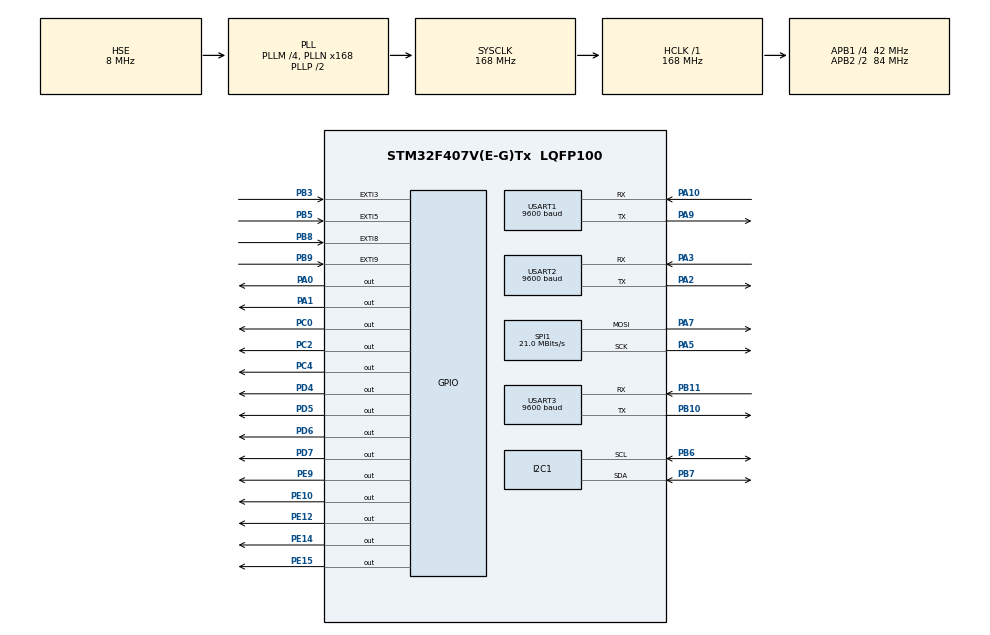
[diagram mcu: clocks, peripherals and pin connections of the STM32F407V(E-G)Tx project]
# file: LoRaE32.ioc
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Dma.Request0=USART2_RX
Dma.Request1=USART3_RX
Dma.Request2=SPI1_TX
Dma.SPI1_TX.2.Direction=DMA_MEMORY_TO_PERIPH
Dma.SPI1_TX.2.FIFOMode=DMA_FIFOMODE_DISABLE
Dma.SPI1_TX.2.Instance=DMA2_Stream3
Dma.SPI1_TX.2.MemDataAlignment=DMA_MDATAALIGN_BYTE
Dma.SPI1_TX.2.MemInc=DMA_MINC_ENABLE
Dma.SPI1_TX.2.Mode=DMA_NORMAL
Dma.SPI1_TX.2.PeriphDataAlignment=DMA_PDATAALIGN_BYTE
Dma.SPI1_TX.2.PeriphInc=DMA_PINC_DISABLE
Dma.SPI1_TX.2.Priority=DMA_PRIORITY_LOW
Dma.USART2_RX.0.Direction=DMA_PERIPH_TO_MEMORY
Dma.USART2_RX.0.FIFOMode=DMA_FIFOMODE_DISABLE
Dma.USART2_RX.0.Instance=DMA1_Stream5
Dma.USART2_RX.0.MemDataAlignment=DMA_MDATAALIGN_BYTE
Dma.USART2_RX.0.MemInc=DMA_MINC_ENABLE
Dma.USART2_RX.0.Mode=DMA_NORMAL
Dma.USART2_RX.0.PeriphDataAlignment=DMA_PDATAALIGN_BYTE
Dma.USART2_RX.0.PeriphInc=DMA_PINC_DISABLE
Dma.USART2_RX.0.Priority=DMA_PRIORITY_LOW
Dma.USART3_RX.1.Direction=DMA_PERIPH_TO_MEMORY
Dma.USART3_RX.1.FIFOMode=DMA_FIFOMODE_DISABLE
Dma.USART3_RX.1.Instance=DMA1_Stream1
Dma.USART3_RX.1.MemDataAlignment=DMA_MDATAALIGN_BYTE
Dma.USART3_RX.1.MemInc=DMA_MINC_ENABLE
Dma.USART3_RX.1.Mode=DMA_NORMAL
Dma.USART3_RX.1.PeriphDataAlignment=DMA_PDATAALIGN_BYTE
Dma.USART3_RX.1.PeriphInc=DMA_PINC_DISABLE
Dma.USART3_RX.1.Priority=DMA_PRIORITY_LOW
Mcu.Family=STM32F4
Mcu.Name=STM32F407V(E-G)Tx
Mcu.Package=LQFP100
NVIC.DMA1_Stream1_IRQn=true\:0\:0\:false\:false\:true\:false\:true
NVIC.DMA1_Stream5_IRQn=true\:0\:0\:false\:false\:true\:false\:true
NVIC.DMA2_Stream3_IRQn=true\:0\:0\:false\:false\:true\:false\:true
NVIC.EXTI9_5_IRQn=true\:0\:0\:false\:false\:true\:true\:true
NVIC.PriorityGroup=NVIC_PRIORITYGROUP_4
NVIC.USART1_IRQn=true\:0\:0\:false\:false\:true\:true\:true
NVIC.USART2_IRQn=true\:0\:0\:false\:false\:true\:true\:true
NVIC.USART3_IRQn=true\:0\:0\:false\:false\:true\:true\:true
PA0-WKUP.Signal=GPIO_Output
PA1.Signal=GPIO_Output
PA10.Mode=Asynchronous
PA10.Signal=USART1_RX
PA13.Mode=Serial_Wire
PA13.Signal=SYS_JTMS-SWDIO
PA14.Mode=Serial_Wire
PA14.Signal=SYS_JTCK-SWCLK
PA2.Mode=Asynchronous
PA2.Signal=USART2_TX
PA3.Mode=Asynchronous
PA3.Signal=USART2_RX
PA5.Mode=TX_Only_Simplex_Unidirect_Master
PA5.Signal=SPI1_SCK
PA7.Mode=TX_Only_Simplex_Unidirect_Master
PA7.Signal=SPI1_MOSI
PA9.Mode=Asynchronous
PA9.Signal=USART1_TX
PB10.Mode=Asynchronous
PB10.Signal=USART3_TX
PB11.Mode=Asynchronous
PB11.Signal=USART3_RX
PB3.Signal=GPXTI3
PB5.Signal=GPXTI5
PB6.Mode=I2C
PB6.Signal=I2C1_SCL
PB7.Mode=I2C
PB7.Signal=I2C1_SDA
PB8.Signal=GPXTI8
PB9.Signal=GPXTI9
PC0.Signal=GPIO_Output
PC2.Signal=GPIO_Output
PC4.Signal=GPIO_Output
PD4.Signal=GPIO_Output
PD5.Signal=GPIO_Output
PD6.Signal=GPIO_Output
PD7.Signal=GPIO_Output
PE10.Signal=GPIO_Output
PE12.Signal=GPIO_Output
PE14.Signal=GPIO_Output
PE15.Signal=GPIO_Output
PE9.Signal=GPIO_Output
PH0-OSC_IN.Mode=HSE-External-Oscillator
PH0-OSC_IN.Signal=RCC_OSC_IN
PH1-OSC_OUT.Mode=HSE-External-Oscillator
PH1-OSC_OUT.Signal=RCC_OSC_OUT
ProjectManager.HeapSize=0x200
ProjectManager.StackSize=0x400
ProjectManager.TargetToolchain=STM32CubeIDE
RCC.48MHZClocksFreq_Value=84000000
RCC.AHBFreq_Value=168000000
RCC.APB1CLKDivider=RCC_HCLK_DIV4
RCC.APB1Freq_Value=42000000
RCC.APB1TimFreq_Value=84000000
RCC.APB2CLKDivider=RCC_HCLK_DIV2
RCC.APB2Freq_Value=84000000
RCC.APB2TimFreq_Value=168000000
RCC.CortexFreq_Value=168000000
RCC.HCLKFreq_Value=168000000
RCC.HSE_VALUE=8000000
RCC.HSI_VALUE=16000000
RCC.LSE_VALUE=32768
RCC.PLLM=4
RCC.PLLN=168
RCC.PLLSourceVirtual=RCC_PLLSOURCE_HSE
RCC.SYSCLKFreq_VALUE=168000000
RCC.SYSCLKSource=RCC_SYSCLKSOURCE_PLLCLK
RCC.VCOOutputFreq_Value=336000000
RTC.Date=18
RTC.Format=RTC_FORMAT_BCD
RTC.Hours=11
RTC.Minutes=35
RTC.Month=RTC_MONTH_OCTOBER
RTC.Seconds=5
RTC.Year=21
SPI1.BaudRatePrescaler=SPI_BAUDRATEPRESCALER_4
SPI1.CalculateBaudRate=21.0 MBits/s
SPI1.Direction=SPI_DIRECTION_2LINES
SPI1.Mode=SPI_MODE_MASTER
SPI1.VirtualType=VM_MASTER
USART1.BaudRate=9600
USART1.VirtualMode=VM_ASYNC
USART2.BaudRate=9600
USART2.VirtualMode=VM_ASYNC
USART3.BaudRate=9600
USART3.VirtualMode=VM_ASYNC
VP_RTC_VS_RTC_Activate.Mode=RTC_Enabled
VP_RTC_VS_RTC_Calendar.Mode=RTC_Calendar
board=custom

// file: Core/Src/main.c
/* USER CODE BEGIN Header */
/**
  ******************************************************************************
  * @file           : main.c
  * @brief          : Main program body
  ******************************************************************************
  * @attention
  *
  * <h2><center>&copy; Copyright (c) 2021 STMicroelectronics.
  * All rights reserved.</center></h2>
  *
  * This software component is licensed by ST under BSD 3-Clause license,
  * the "License"; You may not use this file except in compliance with the
  * License. You may obtain a copy of the License at:
  *                        opensource.org/licenses/BSD-3-Clause
  *
  ******************************************************************************
  */
/* USER CODE END Header */
#include "main.h"

/* USER CODE BEGIN Includes */
#include <string.h>
#include <stdio.h>
#include <stdlib.h>
#include <stdbool.h>
#include <ctype.h>

#include "math.h"
#include "INA219.h"
#include "retarget.h"
#include "ILI9341_STM32_Driver.h"
#include "ILI9341_GFX.h"
#include "GPS.h"
/* USER CODE END Includes */

/* USER CODE BEGIN PTD */
#define map(x,in_min,in_max,out_min,out_max) ( (x-in_min) * (out_max-out_min) / (in_max-in_min) + out_min )
/* USER CODE END PTD */

I2C_HandleTypeDef hi2c1;

RTC_HandleTypeDef hrtc;

SPI_HandleTypeDef hspi1;
DMA_HandleTypeDef hdma_spi1_tx;

UART_HandleTypeDef huart1;
UART_HandleTypeDef huart2;
UART_HandleTypeDef huart3;
DMA_HandleTypeDef hdma_usart2_rx;
DMA_HandleTypeDef hdma_usart3_rx;

/* USER CODE BEGIN PV */
//serial 2
#define RxBuf_SIZE	  1024
#define MainBuf_SIZE  1024
uint8_t RxBuf[RxBuf_SIZE];
uint8_t MainBuf[MainBuf_SIZE];
bool usart_2_state = false;
uint16_t ukuran_data;
//serial 3
uint8_t MainBuf_3[MainBuf_SIZE] = { 0 };
uint8_t RxBuf_3[RxBuf_SIZE] = { 0 };
bool usart_3_state = false;

//serial komunikasi
uint8_t buff_s[200];
uint16_t ukuranstring;
char buffer[5];
uint16_t oldPos = 0;
uint16_t newPos = 0;
uint16_t oldPos_3 = 0;
uint16_t newPos_3 = 0;
char node[5] = "A";
//waktu millis second
char jam, menit, detik;
char tanggal, bulan, tahun;
char gabungtanggal[50];
unsigned long rtc_millis = 0;
unsigned long ina219_millis = 0;
unsigned long led_prev_on = 0;
unsigned long led_loop_on = 0;
unsigned long keypad_reset = 0;
unsigned long keypad_millis = 0;
//deklarasi Sensor Tegangan dan Arus
float tegangan = 0.0;
float Vshunt = 0.0;
float arus = 0.0;
float batteryPercentage = 0.0;
char volt[50], persen[50], amper[50];
//deklarasi keypad
GPIO_InitTypeDef GPIO_InitStructPrivate = {0};
uint32_t previousMillis = 0;
uint32_t currentMillis = 0;
uint8_t keyPressed = 0;
uint8_t keyPressed_prev = 0;
uint8_t counter = 0;
char keypad = 0; char key[5] = {0};
bool key_kondisi = false;
int ikeypad = 0;
char simpankeypad[100];
//deklarasi LED
bool led_hijau_kuning = 1;
bool led_merah = 0;
//deklarasi GPS
float lon_gps, lat_gps;
char lat[20], lat_a, lon[20], lon_a;
char data_lat[20], data_lng[20];
//deklarasi LCD
char data[] = "HELLO WORLD \r\n";
/* USER CODE END PV */

void SystemClock_Config(void);
static void MX_GPIO_Init(void);
static void MX_DMA_Init(void);
static void MX_USART1_UART_Init(void);
static void MX_USART2_UART_Init(void);
static void MX_RTC_Init(void);
static void MX_I2C1_Init(void);
static void MX_USART3_UART_Init(void);
static void MX_SPI1_Init(void);

/* USER CODE BEGIN 0 */
long int tick = 29380;
char printbuffer[300];
bool printed;
/**Fungsi ini digunakan untuk set timer jika dibutuhkan untuk set rtc
  */
void set_time(void){
	  RTC_TimeTypeDef sTime = {0};
	  RTC_DateTypeDef sDate = {0};
	  /** Initialize RTC and set the Time and Date
	  */
	  sTime.Hours = 0x10;
	  sTime.Minutes = 0x1;
	  sTime.Seconds = 0x0;
	  sTime.DayLightSaving = RTC_DAYLIGHTSAVING_NONE;
	  sTime.StoreOperation = RTC_STOREOPERATION_RESET;
	  if (HAL_RTC_SetTime(&hrtc, &sTime, RTC_FORMAT_BCD) != HAL_OK)
	  {
	    Error_Handler();
	  }
	  sDate.WeekDay = RTC_WEEKDAY_MONDAY;
	  sDate.Month = RTC_MONTH_OCTOBER;
	  sDate.Date = 0x18;
	  sDate.Year = 0x21;

	  if (HAL_RTC_SetDate(&hrtc, &sDate, RTC_FORMAT_BCD) != HAL_OK)
	  {
	    Error_Handler();
	  }
	  /* USER CODE BEGIN RTC_Init 2 */
	  HAL_RTCEx_BKUPWrite(&hrtc, RTC_BKP_DR1, 0x32F2);
	  /* USER CODE END RTC_Init 2 */

}
/**Fungsi ini digunakan untuk LCD*/

void getLCD(char *data_lat,char *data_lng, char *volt, char *amper, char *persen, char *gabungtanggal)
{
	  ILI9341_DrawVLine(0, 0, 320, DARKGREEN);
	  ILI9341_DrawVLine(2, 0, 320, DARKGREEN);
	  ILI9341_DrawText(gabungtanggal, FONT3, 9, 8, WHITE, BLACK);
	  ILI9341_DrawText(persen, FONT3, 155, 8, WHITE, BLACK);
	  if(atoi(persen) <= 100 && atoi(persen) >= 80)
	  {
		  ILI9341_DrawRectangle(190, 4, 8, 20, GREENYELLOW);
		  ILI9341_DrawRectangle(200, 4, 8, 20, GREENYELLOW);
		  ILI9341_DrawRectangle(210, 4, 8, 20, GREENYELLOW);
		  ILI9341_DrawRectangle(220, 4, 8, 20, GREENYELLOW);
		  ILI9341_DrawRectangle(230, 4, 8, 20, GREENYELLOW);
	  }
	  else if(atoi(persen) >= 60 && atoi(persen) <= 79)
	  {
		  ILI9341_DrawRectangle(200, 4, 8, 20, GREENYELLOW);
		  ILI9341_DrawRectangle(210, 4, 8, 20, GREENYELLOW);
		  ILI9341_DrawRectangle(220, 4, 8, 20, GREENYELLOW);
		  ILI9341_DrawRectangle(230, 4, 8, 20, GREENYELLOW);
	  }
	  else if(atoi(persen) >= 40 && atoi(persen) <= 59)
	  {
		  ILI9341_DrawRectangle(210, 4, 8, 20, GREENYELLOW);
		  ILI9341_DrawRectangle(220, 4, 8, 20, GREENYELLOW);
		  ILI9341_DrawRectangle(230, 4, 8, 20, GREENYELLOW);
	  }
	  else if(atoi(persen) >= 20 && atoi(persen) <= 39)
	  {
		  ILI9341_DrawRectangle(220, 4, 8, 20, GREENYELLOW);
		  ILI9341_DrawRectangle(230, 4, 8, 20, GREENYELLOW);
	  }
	  else
	  {
		  ILI9341_DrawRectangle(230, 4, 8, 20, RED);
	  }
	  ILI9341_DrawVLine(237, 0, 320, DARKGREEN);
	  ILI9341_DrawVLine(239, 0, 320, DARKGREEN);
	  ILI9341_DrawHLine(0, 30, 240, DARKGREEN);
	  ILI9341_DrawHLine(0, 32, 240, DARKGREEN);
	  ILI9341_DrawText("ID NODE : D", FONT3, 9, 40, WHITE, BLACK);
	  ILI9341_DrawText(volt, FONT3, 120, 40, WHITE, BLACK);
	  ILI9341_DrawText(amper, FONT3, 180, 40, WHITE, BLACK);
	  ILI9341_DrawHLine(0, 60, 240, DARKGREEN);
	  ILI9341_DrawHLine(0, 62, 240, DARKGREEN);
	  ILI9341_DrawText("Masukkan Pesan yang anda kirim : ", FONT2, 9, 70, WHITE, BLACK);
	  ILI9341_DrawHLine(0, 85, 240, DARKGREEN);
	  ILI9341_DrawHLine(0, 87, 240, DARKGREEN);
//	  ILI9341_DrawText("Ini Pesan Anda", FONT2, 9, 95, WHITE, BLACK);
	  ILI9341_DrawHLine(0, 150, 240, DARKGREEN);
	  ILI9341_DrawHLine(0, 152, 240, DARKGREEN);
	  ILI9341_DrawText("Anda Menerima Pesan : ", FONT2, 9, 160, WHITE, BLACK);
//	  ILI9341_DrawText("Ini Pesan dia", FONT2, 9, 175, WHITE, BLACK);
	  ILI9341_DrawHLine(0, 245, 240, DARKGREEN);
	  ILI9341_DrawHLine(0, 247, 240, DARKGREEN);
	  ILI9341_DrawText("Lokasi   : ", FONT2, 9, 255, WHITE, BLACK);
	  ILI9341_DrawText("Latitude : ", FONT2, 9, 270, WHITE, BLACK);
	  ILI9341_DrawText(data_lat, FONT2, 75, 270, WHITE, BLACK);
	  ILI9341_DrawText("Longitude : ", FONT2, 9, 285, WHITE, BLACK);
	  ILI9341_DrawText(data_lng, FONT2, 75, 285, WHITE, BLACK);
	  ILI9341_DrawHLine(0, 300, 240, DARKGREEN);
	  ILI9341_DrawHLine(0, 300, 240, DARKGREEN);
	  ILI9341_DrawText("Copyright : www.pens.ac.id", FONT2, 30, 305, WHITE, BLACK);
}

/**Fungsi ini digunakan untuk membaca interanal RTC
  */
void get_time(void)
{
	if (HAL_GetTick() - rtc_millis >= 500){
		rtc_millis = HAL_GetTick();
		 RTC_DateTypeDef gDate;
		 RTC_TimeTypeDef gTime;
		 HAL_RTC_GetTime(&hrtc, &gTime, RTC_FORMAT_BIN);
		 HAL_RTC_GetDate(&hrtc, &gDate, RTC_FORMAT_BIN);
		 jam = gTime.Hours; menit = gTime.Minutes; detik = gTime.Seconds;
		 tanggal = gDate.Date; bulan = gDate.Month; tahun = gDate.Year;
//		 printf("%02d:%02d:%02d || %02d-%02d-%2d\r\n",jam, menit, detik,tanggal, bulan, 2000 + tahun);
	}
}
/**Fungsi ini digunakan untuk membaca baterai
  */
void get_ampere_volt(void){
	setCalibration_16V_400mA();
	tegangan = getBusVoltage_V();
	Vshunt = getPower_mW();
	arus = getCurrent_mA() * (-1);
	float maxVoltage = 12.4;
	float minVoltage = 11.2;
	batteryPercentage = (tegangan - minVoltage) / (maxVoltage - minVoltage) * 100;
	if (batteryPercentage > 100) batteryPercentage = 100;
	else if (batteryPercentage < 0) batteryPercentage = 0;
	if (HAL_GetTick() - ina219_millis >= 500){
		ina219_millis = HAL_GetTick();
//		printf("Vbus: %.1f V| persen: %.1f percent | Ampere: %.1f mA\r\n",tegangan, batteryPercentage, arus);
		sprintf(volt, "%.4g", tegangan);
		sprintf(amper, "%.5g", arus);
		sprintf(persen, "%.2g", batteryPercentage);
//
	}
}
void get_keypad(uint8_t keypadin);
void get_gps(void);
void led_reaction(uint16_t led_time, uint16_t time_loop);
void terimadata(void);
void kirimdata(char *keypad);
void remove_spaces(char* s);
char* substr(const char *src, int m, int n);
/* USER CODE END 0 */

int main(void)
{

  /* MCU Configuration--------------------------------------------------------*/

  /* Reset of all peripherals, Initializes the Flash interface and the Systick. */
  HAL_Init();

  /* Configure the system clock */
  SystemClock_Config();

  /* Initialize all configured peripherals */
  MX_GPIO_Init();
  MX_DMA_Init();
  MX_USART1_UART_Init();
  MX_USART2_UART_Init();
  MX_RTC_Init();
  MX_I2C1_Init();
  MX_USART3_UART_Init();
  MX_SPI1_Init();
  /* USER CODE BEGIN 2 */
  RetargetInit(&huart1);
  HAL_UARTEx_ReceiveToIdle_DMA(&huart2, RxBuf, RxBuf_SIZE);
  __HAL_DMA_DISABLE_IT(&hdma_usart2_rx, DMA_IT_HT);
  HAL_UARTEx_ReceiveToIdle_DMA(&huart3, RxBuf_3, RxBuf_SIZE);
  __HAL_DMA_DISABLE_IT(&hdma_usart3_rx, DMA_IT_HT);
  //set m0 m1
  HAL_GPIO_WritePin(GPIOD, GPIO_PIN_2, 0);
  HAL_GPIO_WritePin(GPIOD, GPIO_PIN_3, 0);
  if(HAL_RTCEx_BKUPRead(&hrtc, RTC_BKP_DR1) != 0x32F2){
	  set_time();
  }
  //begin LCD
  HAL_GPIO_WritePin(GPIOC, GPIO_PIN_4, 1);
  ILI9341_Init();
  ILI9341_FillScreen(BLACK);
  ILI9341_SetRotation(SCREEN_VERTICAL_2);
  //begin keypad
  HAL_GPIO_WritePin(GPIOD, GPIO_PIN_4, 1);
  HAL_GPIO_WritePin(GPIOD, GPIO_PIN_5, 1);
  HAL_GPIO_WritePin(GPIOD, GPIO_PIN_6, 1);
  HAL_GPIO_WritePin(GPIOD, GPIO_PIN_7, 1);
  //Millis second set
  rtc_millis = HAL_GetTick();
  ina219_millis = HAL_GetTick();
  //kirim data dummy  *node,lat,long,data,jam, menit, detik, tegangan
//  ukuranstring = sprintf((char*)buff_s, "*A,latitude,longitude,data,jam,menit,detik,baterai\r\n");
//  HAL_UART_Transmit(&huart2, buff_s, ukuranstring, 100);
//  printf("Test");
  led_reaction(100, 600);

  /* USER CODE END 2 */

  /* Infinite loop */
  while (1)
  {

    /* USER CODE BEGIN 3 */
	  get_time();
	  get_keypad(keyPressed);
	  get_ampere_volt();
	  terimadata();
	  snprintf( gabungtanggal, 50, "%02d:%02d:%02d %02d-%02d-%2d",jam, menit, detik,tanggal, bulan, 2000 + tahun );
//	  printf("%s\n", gabungtanggal);
	  getLCD(lat, lon, volt, amper, persen,gabungtanggal);
//	  printf("%02d:%02d:%02d || %02d-%02d-%2d\r\n",jam, menit, detik,tanggal, bulan, 2000 + tahun);
	  get_gps();
//	  ukuranstring = sprintf((char*)buff_s, "*A,latitude,longitude,data,jam,menit,detik,baterai\r\n");
//	  HAL_UART_Transmit(&huart2, buff_s, ukuranstring, 100);
//	  HAL_Delay(1000);
  }
  /* USER CODE END 3 */
}

void SystemClock_Config(void)
{
  RCC_OscInitTypeDef RCC_OscInitStruct = {0};
  RCC_ClkInitTypeDef RCC_ClkInitStruct = {0};
  RCC_PeriphCLKInitTypeDef PeriphClkInitStruct = {0};

  /** Configure the main internal regulator output voltage
  */
  __HAL_RCC_PWR_CLK_ENABLE();
  __HAL_PWR_VOLTAGESCALING_CONFIG(PWR_REGULATOR_VOLTAGE_SCALE1);
  /** Initializes the RCC Oscillators according to the specified parameters
  * in the RCC_OscInitTypeDef structure.
  */
  RCC_OscInitStruct.OscillatorType = RCC_OSCILLATORTYPE_LSI|RCC_OSCILLATORTYPE_HSE;
  RCC_OscInitStruct.HSEState = RCC_HSE_ON;
  RCC_OscInitStruct.LSIState = RCC_LSI_ON;
  RCC_OscInitStruct.PLL.PLLState = RCC_PLL_ON;
  RCC_OscInitStruct.PLL.PLLSource = RCC_PLLSOURCE_HSE;
  RCC_OscInitStruct.PLL.PLLM = 4;
  RCC_OscInitStruct.PLL.PLLN = 168;
  RCC_OscInitStruct.PLL.PLLP = RCC_PLLP_DIV2;
  RCC_OscInitStruct.PLL.PLLQ = 4;
  if (HAL_RCC_OscConfig(&RCC_OscInitStruct) != HAL_OK)
  {
    Error_Handler();
  }
  /** Initializes the CPU, AHB and APB buses clocks
  */
  RCC_ClkInitStruct.ClockType = RCC_CLOCKTYPE_HCLK|RCC_CLOCKTYPE_SYSCLK
                              |RCC_CLOCKTYPE_PCLK1|RCC_CLOCKTYPE_PCLK2;
  RCC_ClkInitStruct.SYSCLKSource = RCC_SYSCLKSOURCE_PLLCLK;
  RCC_ClkInitStruct.AHBCLKDivider = RCC_SYSCLK_DIV1;
  RCC_ClkInitStruct.APB1CLKDivider = RCC_HCLK_DIV4;
  RCC_ClkInitStruct.APB2CLKDivider = RCC_HCLK_DIV2;

  if (HAL_RCC_ClockConfig(&RCC_ClkInitStruct, FLASH_LATENCY_5) != HAL_OK)
  {
    Error_Handler();
  }
  PeriphClkInitStruct.PeriphClockSelection = RCC_PERIPHCLK_RTC;
  PeriphClkInitStruct.RTCClockSelection = RCC_RTCCLKSOURCE_LSI;
  if (HAL_RCCEx_PeriphCLKConfig(&PeriphClkInitStruct) != HAL_OK)
  {
    Error_Handler();
  }
}

static void MX_I2C1_Init(void)
{

  hi2c1.Instance = I2C1;
  hi2c1.Init.ClockSpeed = 100000;
  hi2c1.Init.DutyCycle = I2C_DUTYCYCLE_2;
  hi2c1.Init.OwnAddress1 = 0;
  hi2c1.Init.AddressingMode = I2C_ADDRESSINGMODE_7BIT;
  hi2c1.Init.DualAddressMode = I2C_DUALADDRESS_DISABLE;
  hi2c1.Init.OwnAddress2 = 0;
  hi2c1.Init.GeneralCallMode = I2C_GENERALCALL_DISABLE;
  hi2c1.Init.NoStretchMode = I2C_NOSTRETCH_DISABLE;
  if (HAL_I2C_Init(&hi2c1) != HAL_OK)
  {
    Error_Handler();
  }

}

static void MX_RTC_Init(void)
{

  /* USER CODE BEGIN RTC_Init 0 */
	//JANGAN LUPA DIKOMEN YA
  /* USER CODE END RTC_Init 0 */

  RTC_TimeTypeDef sTime = {0};
  RTC_DateTypeDef sDate = {0};

  /** Initialize RTC Only
  */
  hrtc.Instance = RTC;
  hrtc.Init.HourFormat = RTC_HOURFORMAT_24;
  hrtc.Init.AsynchPrediv = 127;
  hrtc.Init.SynchPrediv = 255;
  hrtc.Init.OutPut = RTC_OUTPUT_DISABLE;
  hrtc.Init.OutPutPolarity = RTC_OUTPUT_POLARITY_HIGH;
  hrtc.Init.OutPutType = RTC_OUTPUT_TYPE_OPENDRAIN;
  if (HAL_RTC_Init(&hrtc) != HAL_OK)
  {
    Error_Handler();
  }

  /** Initialize RTC and set the Time and Date
  */
  sTime.Hours = 0x11;
  sTime.Minutes = 0x35;
  sTime.Seconds = 0x5;
  sTime.DayLightSaving = RTC_DAYLIGHTSAVING_NONE;
  sTime.StoreOperation = RTC_STOREOPERATION_RESET;
  if (HAL_RTC_SetTime(&hrtc, &sTime, RTC_FORMAT_BCD) != HAL_OK)
  {
    Error_Handler();
  }
  sDate.WeekDay = RTC_WEEKDAY_MONDAY;
  sDate.Month = RTC_MONTH_OCTOBER;
  sDate.Date = 0x18;
  sDate.Year = 0x21;

  if (HAL_RTC_SetDate(&hrtc, &sDate, RTC_FORMAT_BCD) != HAL_OK)
  {
    Error_Handler();
  }
  /* USER CODE BEGIN RTC_Init 2 */
	  HAL_RTCEx_BKUPWrite(&hrtc, RTC_BKP_DR1, 0x32F2);
  /* USER CODE END RTC_Init 2 */

}

static void MX_SPI1_Init(void)
{

  /* SPI1 parameter configuration*/
  hspi1.Instance = SPI1;
  hspi1.Init.Mode = SPI_MODE_MASTER;
  hspi1.Init.Direction = SPI_DIRECTION_2LINES;
  hspi1.Init.DataSize = SPI_DATASIZE_8BIT;
  hspi1.Init.CLKPolarity = SPI_POLARITY_LOW;
  hspi1.Init.CLKPhase = SPI_PHASE_1EDGE;
  hspi1.Init.NSS = SPI_NSS_SOFT;
  hspi1.Init.BaudRatePrescaler = SPI_BAUDRATEPRESCALER_4;
  hspi1.Init.FirstBit = SPI_FIRSTBIT_MSB;
  hspi1.Init.TIMode = SPI_TIMODE_DISABLE;
  hspi1.Init.CRCCalculation = SPI_CRCCALCULATION_DISABLE;
  hspi1.Init.CRCPolynomial = 10;
  if (HAL_SPI_Init(&hspi1) != HAL_OK)
  {
    Error_Handler();
  }

}

static void MX_USART1_UART_Init(void)
{

  huart1.Instance = USART1;
  huart1.Init.BaudRate = 9600;
  huart1.Init.WordLength = UART_WORDLENGTH_8B;
  huart1.Init.StopBits = UART_STOPBITS_1;
  huart1.Init.Parity = UART_PARITY_NONE;
  huart1.Init.Mode = UART_MODE_TX_RX;
  huart1.Init.HwFlowCtl = UART_HWCONTROL_NONE;
  huart1.Init.OverSampling = UART_OVERSAMPLING_16;
  if (HAL_UART_Init(&huart1) != HAL_OK)
  {
    Error_Handler();
  }

}

static void MX_USART2_UART_Init(void)
{

  huart2.Instance = USART2;
  huart2.Init.BaudRate = 9600;
  huart2.Init.WordLength = UART_WORDLENGTH_8B;
  huart2.Init.StopBits = UART_STOPBITS_1;
  huart2.Init.Parity = UART_PARITY_NONE;
  huart2.Init.Mode = UART_MODE_TX_RX;
  huart2.Init.HwFlowCtl = UART_HWCONTROL_NONE;
  huart2.Init.OverSampling = UART_OVERSAMPLING_16;
  if (HAL_UART_Init(&huart2) != HAL_OK)
  {
    Error_Handler();
  }

}

static void MX_USART3_UART_Init(void)
{

  huart3.Instance = USART3;
  huart3.Init.BaudRate = 9600;
  huart3.Init.WordLength = UART_WORDLENGTH_8B;
  huart3.Init.StopBits = UART_STOPBITS_1;
  huart3.Init.Parity = UART_PARITY_NONE;
  huart3.Init.Mode = UART_MODE_TX_RX;
  huart3.Init.HwFlowCtl = UART_HWCONTROL_NONE;
  huart3.Init.OverSampling = UART_OVERSAMPLING_16;
  if (HAL_UART_Init(&huart3) != HAL_OK)
  {
    Error_Handler();
  }

}

static void MX_DMA_Init(void)
{

  /* DMA controller clock enable */
  __HAL_RCC_DMA1_CLK_ENABLE();
  __HAL_RCC_DMA2_CLK_ENABLE();

  /* DMA interrupt init */
  /* DMA1_Stream1_IRQn interrupt configuration */
  HAL_NVIC_SetPriority(DMA1_Stream1_IRQn, 0, 0);
  HAL_NVIC_EnableIRQ(DMA1_Stream1_IRQn);
  /* DMA1_Stream5_IRQn interrupt configuration */
  HAL_NVIC_SetPriority(DMA1_Stream5_IRQn, 0, 0);
  HAL_NVIC_EnableIRQ(DMA1_Stream5_IRQn);
  /* DMA2_Stream3_IRQn interrupt configuration */
  HAL_NVIC_SetPriority(DMA2_Stream3_IRQn, 0, 0);
  HAL_NVIC_EnableIRQ(DMA2_Stream3_IRQn);

}

static void MX_GPIO_Init(void)
{
  GPIO_InitTypeDef GPIO_InitStruct = {0};

  /* GPIO Ports Clock Enable */
  __HAL_RCC_GPIOH_CLK_ENABLE();
  __HAL_RCC_GPIOC_CLK_ENABLE();
  __HAL_RCC_GPIOA_CLK_ENABLE();
  __HAL_RCC_GPIOE_CLK_ENABLE();
  __HAL_RCC_GPIOB_CLK_ENABLE();
  __HAL_RCC_GPIOD_CLK_ENABLE();

  /*Configure GPIO pin Output Level */
  HAL_GPIO_WritePin(GPIOC, GPIO_PIN_0|GPIO_PIN_2|GPIO_PIN_4, GPIO_PIN_RESET);

  /*Configure GPIO pin Output Level */
  HAL_GPIO_WritePin(GPIOA, GPIO_PIN_0|GPIO_PIN_1, GPIO_PIN_RESET);

  /*Configure GPIO pin Output Level */
  HAL_GPIO_WritePin(GPIOE, GPIO_PIN_9|GPIO_PIN_10|GPIO_PIN_12|GPIO_PIN_14
                          |GPIO_PIN_15, GPIO_PIN_RESET);

  /*Configure GPIO pin Output Level */
  HAL_GPIO_WritePin(GPIOD, GPIO_PIN_4|GPIO_PIN_5|GPIO_PIN_6|GPIO_PIN_7, GPIO_PIN_RESET);

  /*Configure GPIO pins : PC0 PC2 PC4 */
  GPIO_InitStruct.Pin = GPIO_PIN_0|GPIO_PIN_2|GPIO_PIN_4;
  GPIO_InitStruct.Mode = GPIO_MODE_OUTPUT_PP;
  GPIO_InitStruct.Pull = GPIO_NOPULL;
  GPIO_InitStruct.Speed = GPIO_SPEED_FREQ_LOW;
  HAL_GPIO_Init(GPIOC, &GPIO_InitStruct);

  /*Configure GPIO pins : PA0 PA1 */
  GPIO_InitStruct.Pin = GPIO_PIN_0|GPIO_PIN_1;
  GPIO_InitStruct.Mode = GPIO_MODE_OUTPUT_PP;
  GPIO_InitStruct.Pull = GPIO_NOPULL;
  GPIO_InitStruct.Speed = GPIO_SPEED_FREQ_LOW;
  HAL_GPIO_Init(GPIOA, &GPIO_InitStruct);

  /*Configure GPIO pins : PE9 PE10 PE12 PE14
                           PE15 */
  GPIO_InitStruct.Pin = GPIO_PIN_9|GPIO_PIN_10|GPIO_PIN_12|GPIO_PIN_14
                          |GPIO_PIN_15;
  GPIO_InitStruct.Mode = GPIO_MODE_OUTPUT_PP;
  GPIO_InitStruct.Pull = GPIO_NOPULL;
  GPIO_InitStruct.Speed = GPIO_SPEED_FREQ_LOW;
  HAL_GPIO_Init(GPIOE, &GPIO_InitStruct);

  /*Configure GPIO pins : PD4 PD5 PD6 PD7 */
  GPIO_InitStruct.Pin = GPIO_PIN_4|GPIO_PIN_5|GPIO_PIN_6|GPIO_PIN_7;
  GPIO_InitStruct.Mode = GPIO_MODE_OUTPUT_PP;
  GPIO_InitStruct.Pull = GPIO_NOPULL;
  GPIO_InitStruct.Speed = GPIO_SPEED_FREQ_LOW;
  HAL_GPIO_Init(GPIOD, &GPIO_InitStruct);

  /*Configure GPIO pins : PB3 PB5 PB8 PB9 */
  GPIO_InitStruct.Pin = GPIO_PIN_3|GPIO_PIN_5|GPIO_PIN_8|GPIO_PIN_9;
  GPIO_InitStruct.Mode = GPIO_MODE_IT_RISING;
  GPIO_InitStruct.Pull = GPIO_NOPULL;
  HAL_GPIO_Init(GPIOB, &GPIO_InitStruct);

  /* EXTI interrupt init*/
  HAL_NVIC_SetPriority(EXTI9_5_IRQn, 0, 0);
  HAL_NVIC_EnableIRQ(EXTI9_5_IRQn);

}

/* USER CODE BEGIN 4 */
/**Fungsi ini digunakan untuk interrupt LoRa E32 jika ada data masuk
  */
void HAL_UARTEx_RxEventCallback(UART_HandleTypeDef *huart, uint16_t Size)
{
	//variable parse
	//uint8_t prev_Data;
	if (huart->Instance == USART2)
	{
		oldPos = newPos;  // Update the last position before copying new data

		/* If the data in large and it is about to exceed the buffer size, we have to route it to the start of the buffer
		 * This is to maintain the circular buffer
		 * The old data in the main buffer will be overlapped
		 */
		if (oldPos+Size > MainBuf_SIZE)  // If the current position + new data size is greater than the main buffer
		{
			uint16_t datatocopy = MainBuf_SIZE-oldPos;  // find out how much space is left in the main buffer
			memcpy ((uint8_t *)MainBuf+oldPos, RxBuf, datatocopy);  // copy data in that remaining space

			oldPos = 0;  // point to the start of the buffer
			memcpy ((uint8_t *)MainBuf, (uint8_t *)RxBuf+datatocopy, (Size-datatocopy));  // copy the remaining data
			newPos = (Size-datatocopy);  // update the position
		}

		/* if the current position + new data size is less than the main buffer
		 * we will simply copy the data into the buffer and update the position
		 */
		else
		{
			memcpy ((uint8_t *)MainBuf+newPos, RxBuf, Size);
			newPos = Size+oldPos;
		}
		/* start the DMA again */
		HAL_UARTEx_ReceiveToIdle_DMA(&huart2, (uint8_t *) RxBuf, RxBuf_SIZE);
		__HAL_DMA_DISABLE_IT(&hdma_usart2_rx, DMA_IT_HT);
//		printf("%s", RxBuf);
//		HAL_UART_Transmit(&huart2, MainBuf, Size, 100);
		ukuran_data = Size;
		usart_2_state = true;
	}else if(huart->Instance == USART3){
		oldPos_3 = newPos_3;
		if (oldPos_3+Size > MainBuf_SIZE)  // If the current position + new data size is greater than the main buffer
		{
			uint16_t datatocopy_3 = MainBuf_SIZE-oldPos_3;  // find out how much space is left in the main buffer
			memcpy ((uint8_t *)MainBuf_3+oldPos_3, RxBuf_3, datatocopy_3);  // copy data in that remaining space
			oldPos_3 = 0;  // point to the start of the buffer
			memcpy ((uint8_t *)MainBuf_3, (uint8_t *)RxBuf_3+datatocopy_3, (Size-datatocopy_3));  // copy the remaining data
			newPos_3 = (Size-datatocopy_3);
		}
		else
		{
			memcpy ((uint8_t *)MainBuf+newPos_3, RxBuf_3, Size);
			newPos_3 = Size+oldPos_3;
		}
		HAL_UARTEx_ReceiveToIdle_DMA(&huart3, (uint8_t *) RxBuf_3, RxBuf_SIZE);
		__HAL_DMA_DISABLE_IT(&hdma_usart3_rx, DMA_IT_HT);
//		printf("%s", MainBuf_3); //gpsdata
		usart_3_state = true;
	}
}
/**Fungsi ini digunakan untuk keypad untuk mengirim pesan dan juga di intrupsi jika ada data masuk dari keypad
  */
void HAL_GPIO_EXTI_Callback(uint16_t GPIO_Pin)
{
  currentMillis = HAL_GetTick();
  if (currentMillis - previousMillis > 10) {
    /*Configure GPIO pins : PB3 PB5 PB8 PB9 to GPIO_INPUT*/
    GPIO_InitStructPrivate.Pin = GPIO_PIN_3|GPIO_PIN_5|GPIO_PIN_8|GPIO_PIN_9;
    GPIO_InitStructPrivate.Mode = GPIO_MODE_INPUT;
    GPIO_InitStructPrivate.Pull = GPIO_NOPULL;
    GPIO_InitStructPrivate.Speed = GPIO_SPEED_FREQ_LOW;
    HAL_GPIO_Init(GPIOB, &GPIO_InitStructPrivate);

    HAL_GPIO_WritePin(GPIOD, GPIO_PIN_4, 1);
    HAL_GPIO_WritePin(GPIOD, GPIO_PIN_5, 0);
    HAL_GPIO_WritePin(GPIOD, GPIO_PIN_6, 0);
    HAL_GPIO_WritePin(GPIOD, GPIO_PIN_7, 0);
    if(GPIO_Pin == GPIO_PIN_3 && HAL_GPIO_ReadPin(GPIOB, GPIO_PIN_3))
    {
      keyPressed = 14; //ASCII value of D
    }
    else if(GPIO_Pin == GPIO_PIN_5 && HAL_GPIO_ReadPin(GPIOB, GPIO_PIN_5))
    {
      keyPressed = 13; //ASCII value of C
    }
    else if(GPIO_Pin == GPIO_PIN_8 && HAL_GPIO_ReadPin(GPIOB, GPIO_PIN_8))
    {
      keyPressed = 12; //ASCII value of B
    }
    else if(GPIO_Pin == GPIO_PIN_9 && HAL_GPIO_ReadPin(GPIOB, GPIO_PIN_9))
    {
      keyPressed = 11; //ASCII value of A
    }

    HAL_GPIO_WritePin(GPIOD, GPIO_PIN_4, 0);
    HAL_GPIO_WritePin(GPIOD, GPIO_PIN_5, 1);
    HAL_GPIO_WritePin(GPIOD, GPIO_PIN_6, 0);
    HAL_GPIO_WritePin(GPIOD, GPIO_PIN_7, 0);

    if(GPIO_Pin == GPIO_PIN_3 && HAL_GPIO_ReadPin(GPIOB, GPIO_PIN_3))
    {
      keyPressed = 15; //ASCII value of #
    }
    else if(GPIO_Pin == GPIO_PIN_5 && HAL_GPIO_ReadPin(GPIOB, GPIO_PIN_5))
    {
      keyPressed = 9; //ASCII value of 9
    }
    else if(GPIO_Pin == GPIO_PIN_8 && HAL_GPIO_ReadPin(GPIOB, GPIO_PIN_8))
    {
      keyPressed = 6; //ASCII value of 6
    }
    else if(GPIO_Pin == GPIO_PIN_9 && HAL_GPIO_ReadPin(GPIOB, GPIO_PIN_9))
    {
      keyPressed = 3; //ASCII value of 3
    }

    HAL_GPIO_WritePin(GPIOD, GPIO_PIN_4, 0);
    HAL_GPIO_WritePin(GPIOD, GPIO_PIN_5, 0);
    HAL_GPIO_WritePin(GPIOD, GPIO_PIN_6, 1);
    HAL_GPIO_WritePin(GPIOD, GPIO_PIN_7, 0);
    if(GPIO_Pin == GPIO_PIN_3 && HAL_GPIO_ReadPin(GPIOB, GPIO_PIN_3))
    {
      keyPressed = 16; //ASCII value of 0
    }
    else if(GPIO_Pin == GPIO_PIN_5 && HAL_GPIO_ReadPin(GPIOB, GPIO_PIN_5))
    {
      keyPressed = 8; //ASCII value of 8
    }
    else if(GPIO_Pin == GPIO_PIN_8 && HAL_GPIO_ReadPin(GPIOB, GPIO_PIN_8))
    {
      keyPressed = 5; //ASCII value of 5
    }
    else if(GPIO_Pin == GPIO_PIN_9 && HAL_GPIO_ReadPin(GPIOB, GPIO_PIN_9))
    {
      keyPressed = 2; //ASCII value of 2
    }

    HAL_GPIO_WritePin(GPIOD, GPIO_PIN_4, 0);
    HAL_GPIO_WritePin(GPIOD, GPIO_PIN_5, 0);
    HAL_GPIO_WritePin(GPIOD, GPIO_PIN_6, 0);
    HAL_GPIO_WritePin(GPIOD, GPIO_PIN_7, 1);
    if(GPIO_Pin == GPIO_PIN_3 && HAL_GPIO_ReadPin(GPIOB, GPIO_PIN_3))
    {
      keyPressed = 17; //ASCII value of *
    }
    else if(GPIO_Pin == GPIO_PIN_5 && HAL_GPIO_ReadPin(GPIOB, GPIO_PIN_5))
    {
      keyPressed = 7; //ASCII value of 7
    }
    else if(GPIO_Pin == GPIO_PIN_8 && HAL_GPIO_ReadPin(GPIOB, GPIO_PIN_8))
    {
      keyPressed = 4; //ASCII value of 4
    }
    else if(GPIO_Pin == GPIO_PIN_9 && HAL_GPIO_ReadPin(GPIOB, GPIO_PIN_9))
    {
      keyPressed = 1; //ASCII value of 1
    }
    HAL_GPIO_WritePin(GPIOD, GPIO_PIN_4, 1);
    HAL_GPIO_WritePin(GPIOD, GPIO_PIN_5, 1);
    HAL_GPIO_WritePin(GPIOD, GPIO_PIN_6, 1);
    HAL_GPIO_WritePin(GPIOD, GPIO_PIN_7, 1);
    /*Configure GPIO pins : PB6 PB7 PB8 PB9 back to EXTI*/
    GPIO_InitStructPrivate.Mode = GPIO_MODE_IT_RISING;
    GPIO_InitStructPrivate.Pull = GPIO_PULLDOWN;
    HAL_GPIO_Init(GPIOB, &GPIO_InitStructPrivate);
    //printf("nilai key pad %d\r\n", keyPressed);
    previousMillis = currentMillis;
    key_kondisi = true;
  }
}
/**Fungsi ini digunakan untuk mendapatkan karakter dari nilai keypad yangdigunakan
  */
void get_keypad(uint8_t keypadin){
	uint16_t pesan;
	pesan = "Test";
	char sementara;
	int hitung;
	if(key_kondisi == true){
		if(keypadin != keyPressed_prev)
		{
			sementara = keypad;
		}
		if(counter >= 5 ){
	  	  counter = 0;
	    }
		if(HAL_GetTick() - keypad_reset >= 500)
		{
			counter = 0;
			sementara = keypad;
		}
		//printf("%d", keypadin);
		if(keypadin == 1){
//			counter ++;
//			strcpy((uint8_t*)key, " 1abc");
//		     keypad = key[counter];
//			ILI9341_FillScreen(BLACK);
			ukuranstring = sprintf((char*)buff_s, "Hasil Tangkapan Nelayan 1kg\r\n");
			ILI9341_DrawText("Hasil Tangkapan Nelayan 1kg", FONT2, 9, 95, WHITE, BLACK);
		}
		else if(keypadin == 2){
//			ILI9341_FillScreen(BLACK);
			ukuranstring = sprintf((char*)buff_s, "Hasil Tangkapan Nelayan 2kg\r\n");
			ILI9341_DrawText("Hasil Tangkapan Nelayan 2kg", FONT2, 9, 95, WHITE, BLACK);
		}
		else if(keypadin == 3){
//			ILI9341_FillScreen(BLACK);
			ukuranstring = sprintf((char*)buff_s, "Hasil Tangkapan Nelayan 3kg\r\n");
			ILI9341_DrawText("Hasil Tangkapan Nelayan 3kg", FONT2, 9, 95, WHITE, BLACK);
		}
		else if(keypadin == 12){
//			counter ++;
//			strcpy((uint8_t*)key, " 2def");
//		     keypad = key[counter];
			ILI9341_DrawFilledRectangleCoord(9, 95, 240, 150, BLACK);
			HAL_UART_Transmit(&huart2, buff_s, ukuranstring, 100);
			ukuranstring = sprintf((char*)buff_s, "\r\n");
		}/*else if(keypadin == 3){
			counter ++;
			strcpy((uint8_t*)key, " 3ghi");
		     keypad = key[counter];
		}else if(keypadin == 4){
			counter ++;
			strcpy((uint8_t*)key, " 4jkl");
		     keypad = key[counter];
		}else if(keypadin == 5){
			counter ++;
			strcpy((uint8_t*)key, " 5mno");
		     keypad = key[counter];
		}else if(keypadin == 6){
			counter ++;
			strcpy((uint8_t*)key, " 6pqr");
		     keypad = key[counter];
		}else if(keypadin == 7){
			counter ++;
			strcpy((uint8_t*)key, " 7stu");
		     keypad = key[counter];
		}else if(keypadin == 8){
			counter ++;
			strcpy((uint8_t*)key, " 8vwx");
		     keypad = key[counter];
		}else if(keypadin == 9){
			counter ++;
			strcpy((uint8_t*)key, " 4yz");
		     keypad = key[counter];
		}
		else if(keypadin == 12){
			counter = 0;
			strcpy((uint8_t*)key, "O"); //oke / KIRIM
		     keypad = key[counter];
		}else if(keypadin == 13){
			counter = 0;
			strcpy((uint8_t*)key, "_"); //spasi
		     keypad = key[counter];
		}*/
		/*printf("key %c\r\n", keypad);
		if(sementara == '_')
		{
			sementara = ' ';
		}
		else
		{
			remove_spaces(simpankeypad);
		}
		strncat(simpankeypad, &sementara, 1);
		printf("Gabungan : %s\n", simpankeypad);
		ILI9341_DrawText(simpankeypad, FONT2, 9, 95, WHITE, BLACK);
		hitung = (strlen(simpankeypad)-1);
		if(keypadin == 11)
		{
			simpankeypad[hitung - 1] = '\0';
			ILI9341_DrawFilledRectangleCoord(9, 95, 240, 150, BLACK);
			ILI9341_DrawText(simpankeypad, FONT2, 9, 95, WHITE, BLACK);
		}
//		kirimdata(&simpankeypad);
//		kirimdata(&keypad);
		keyPressed_prev = keypadin;
		key_kondisi = false;
		led_reaction(100,100);
		keypad_reset = HAL_GetTick();
		keypad_millis = HAL_GetTick();*/
	  }
}

void remove_spaces(char* s) {
    char* d = s;
    do {
        while (*d == ' ') {
            ++d;
        }
    } while (*s++ = *d++);
}

char* substr(const char *src, int m, int n)
{
    // get the length of the destination string
    int len = n - m;

    // allocate (len + 1) chars for destination (+1 for extra null character)
    char *dest = (char*)malloc(sizeof(char) * (len + 1));

    // start with m'th char and copy `len` chars into the destination
    strncpy(dest, (src + m), len);

    // return the destination string
    return dest;
}

/**Fungsi ini LED Blink untuk indikasi
  */
void led_reaction(uint16_t led_time, uint16_t time_loop){
	led_loop_on = HAL_GetTick();
	while ((unsigned long)HAL_GetTick() - led_loop_on <= time_loop){
		if (HAL_GetTick() - led_prev_on >= led_time){
			led_prev_on = HAL_GetTick();
			if (led_hijau_kuning == 0){
				led_hijau_kuning = 1;
			} else {
				led_hijau_kuning = 0;
			}
			if (led_merah == 0){
				led_merah = 1;
			} else {
				led_merah = 0;
			}
			HAL_GPIO_WritePin(GPIOE, GPIO_PIN_10, led_hijau_kuning);
			HAL_GPIO_WritePin(GPIOE, GPIO_PIN_12, led_merah);
			HAL_GPIO_WritePin(GPIOE, GPIO_PIN_14, led_hijau_kuning);
		}
	}
}
/**Fungsi ini untuk memparsing data GPS yaitu latitude longitude digunakan untuk melihat lokaasi alat
  */
void get_gps(){
	if (usart_3_state == true){
//		printf("%s", MainBuf_3);
//		printf("7.12122");
//		printf("test");
	  char *pointer; char *conv;
		  int length = sizeof(MainBuf_3);

		  memset(lat, '\0', 20);
		  memset(lon, '\0', 20) ;
		  pointer = strchr((char*)MainBuf_3, '$');
		  do{
			  char *ptrstart;
			  char *ptrend;
			  if(strncmp(pointer, "$GNGGA" , 6) == 0){ //$GNGGA
				  ptrstart = (char*)memchr(pointer + 1, ',', length);
				  ptrstart = (char*)memchr(ptrstart + 1, ',', length);
				  ptrend = (char*)memchr(ptrstart + 1, ',', length);

			  } else if(strncmp(pointer, "$GNGLL", 6) == 0){ //$GNGLL
				  ptrstart = (char*)memchr(pointer + 1, ',', length);
				  ptrend = (char*)memchr(ptrstart + 1, ',', length);

			  } else if(strncmp(pointer, "$GNRMC", 6) == 0){ //$GNRMC
				  ptrstart = (char*)memchr(pointer + 1, ',', length);
				  ptrstart = (char*)memchr(ptrstart + 1, ',', length);
				  ptrstart = (char*)memchr(ptrstart + 1, ',', length);
				  ptrend = (char*)memchr(ptrstart + 1, ',', length);

			  } else {
				  pointer = strchr(pointer + 6, '$');
				  continue;
			  }

			  for(int i = 1; i < (ptrend - ptrstart); i++) lat[i - 1] = ptrstart[i];
			  lat_a = *(ptrend + 1);

			  ptrstart = (char*)memchr(ptrend + 1, ',', length);
			  ptrend = (char*)memchr(ptrstart + 1, ',', length);

			  for(int i = 1; i < (ptrend - ptrstart); i++) lon[i - 1] = ptrstart[i];
			  lon_a = *(ptrend + 1);
			  if(lon[0] != '\0' && lat[0] != '\0'){
//				  printf("Lat: %s | %c\tLon: %s | %c\r\n", lat, lat_a, lon, lon_a);
				  lat_gps = strtod((char*)lat, &conv);
//				  lat_gps = atof((char*)lat);
				  lon_gps = strtod((char*)lon, &conv);
//				  lon_gps = atof((char*)lon);
				  sprintf(lat, "%.7f", (lat_gps * -0.01) - 0.1167);
				  sprintf(lon, "%.7f", (lon_gps * 0.01) + 0.316);

				  printf("%s %s\n\r",lat, lon);

				  break;
			  }

			  pointer = strchr(pointer + 4, '$');
		  }
		  while(pointer != NULL);
		  usart_3_state = false;
	  }
			else
			  {
				  sprintf(lat, "%g", -7.122323);
				  sprintf(lon, "%g", 122.32312);
			  }
}
/**Fungsi ini untuk terima data dari LoRa Lainnya
  */
void terimadata(void){
	if(usart_2_state == true){
		usart_2_state = false;
		if(RxBuf[0] == '*'){ //*node,lat,long,data,jam, menit, detik, tegangan
			if(RxBuf[1] != *node)
			{
				HAL_UART_Transmit(&huart2, RxBuf, ukuran_data, 100);
//				printf("Terparsing");
			}
			else
			{
				printf("Tidak Mengirimkan");
			}

		}
		else
		{
			printf("Tidak\n");
		}
		ILI9341_DrawText(RxBuf, FONT2, 9, 175, WHITE, BLACK);
		printf("%s", RxBuf);
		led_reaction(100, 600);
	}
}
/**Fungsi ini kirim
  */
void kirimdata(char *keypad){
	printf("%s\r\n", keypad);
	if(HAL_GetTick() - keypad_millis >= 1000)
	{
		strncat(simpankeypad, keypad, 1);
	}
		printf("%s\n", simpankeypad);

		/*else if(keypad == "O")
		{
	//		printf("")
		}
		simpankeypad[ikeypad] = keypad;
		printf("%s\r\n", simpankeypad);*/
//		simpankeypad[ikeypad] = keypad;
}

/* USER CODE END 4 */

void Error_Handler(void)
{
  __disable_irq();
  while (1)
  {
  }
}

/************************ (C) COPYRIGHT STMicroelectronics *****END OF FILE****/
